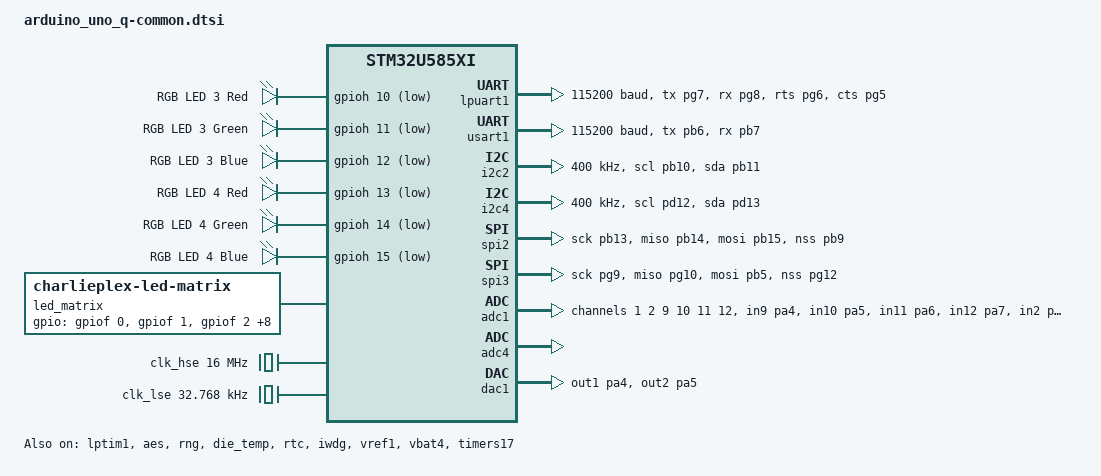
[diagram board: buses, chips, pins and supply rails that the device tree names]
/*
 * Copyright (c) 2021 Linaro Limited
 * Copyright (c) 2024 STMicroelectronics
 * Copyright (c) 2025 Arduino SA
 *
 * SPDX-License-Identifier: Apache-2.0
 */

#include <st/u5/stm32u585Xi.dtsi>
#include <st/u5/stm32u585aiixq-pinctrl.dtsi>
#include "arduino_r3_connector.dtsi"
#include <zephyr/dt-bindings/input/input-event-codes.h>

/ {
	leds {
		compatible = "gpio-leds";

		led3_red: led3_red {
			gpios = <&gpioh 10 GPIO_ACTIVE_LOW>;
			label = "RGB LED 3 Red";
		};

		led3_green: led3_green {
			gpios = <&gpioh 11 GPIO_ACTIVE_LOW>;
			label = "RGB LED 3 Green";
		};

		led3_blue: led3_blue {
			gpios = <&gpioh 12 GPIO_ACTIVE_LOW>;
			label = "RGB LED 3 Blue";
		};

		led4_red: led4_red {
			gpios = <&gpioh 13 GPIO_ACTIVE_LOW>;
			label = "RGB LED 4 Red";
		};

		led4_green: led4_green {
			gpios = <&gpioh 14 GPIO_ACTIVE_LOW>;
			label = "RGB LED 4 Green";
		};

		led4_blue: led4_blue {
			gpios = <&gpioh 15 GPIO_ACTIVE_LOW>;
			label = "RGB LED 4 Blue";
		};
	};

	aliases {
		watchdog0 = &iwdg;
		die-temp0 = &die_temp;
		volt-sensor0 = &vref1;
		volt-sensor1 = &vbat4;
	};
};

&clk_hsi48 {
	status = "okay";
};

&clk_hse {
	clock-frequency = <DT_FREQ_M(16)>;
	status = "okay";
};

&clk_lse {
	clock-frequency = <32768>;
	status = "okay";
};

&clk_msis {
	status = "okay";
	msi-range = <4>;
	msi-pll-mode;
};

&pll1 {
	div-m = <1>;
	mul-n = <80>;
	div-q = <2>;
	div-r = <2>;
	clocks = <&clk_msis>;
	status = "okay";
};

&rcc {
	clocks = <&pll1>;
	clock-frequency = <DT_FREQ_M(160)>;
	ahb-prescaler = <1>;
	apb1-prescaler = <1>;
	apb2-prescaler = <1>;
	apb3-prescaler = <1>;
};

stm32_lp_tick_source: &lptim1 {
	clocks = <&rcc STM32_CLOCK(APB3, 11)>,
		 <&rcc STM32_SRC_LSE LPTIM1_SEL(3)>;
	status = "okay";
};

&lpuart1 {
	pinctrl-0 = <&lpuart1_tx_pg7 &lpuart1_rx_pg8 &lpuart1_rts_pg6 &lpuart1_cts_pg5>;
	pinctrl-names = "default";
	current-speed = <115200>;
	status = "okay";
};

&usart1 {
	status = "okay";
	pinctrl-0 = <&usart1_tx_pb6 &usart1_rx_pb7>;
	pinctrl-names = "default";
	current-speed = <115200>;
};

&i2c2 {
	status = "okay";
	pinctrl-0 = <&i2c2_scl_pb10 &i2c2_sda_pb11>;
	pinctrl-names = "default";
	scl-gpios = <&gpiob 10 GPIO_ACTIVE_HIGH>;
	sda-gpios = <&gpiob 11 GPIO_ACTIVE_HIGH>;
	clock-frequency = <I2C_BITRATE_FAST>;
};

&i2c4 {
	status = "okay";
	pinctrl-0 = <&i2c4_scl_pd12 &i2c4_sda_pd13>;
	/* use      <&i2c4_scl_pf14 &i2c4_sda_pf15> for the JMISC connector */
	pinctrl-names = "default";
	scl-gpios = <&gpiod 12 GPIO_ACTIVE_HIGH>;
	sda-gpios = <&gpiod 13 GPIO_ACTIVE_HIGH>;
	clock-frequency = <I2C_BITRATE_FAST>;
};

&spi2 {
	status = "okay";
	pinctrl-0 = <&spi2_sck_pb13 &spi2_miso_pb14 &spi2_mosi_pb15 &spi2_nss_pb9>;
	/* use      <&spi2_sck_pd1 &spi2_miso_pc2 &spi2_mosi_pc3> for the ICSP connector */
	pinctrl-names = "default";
};

&spi3 {
	status = "okay";
	pinctrl-0 = <&spi3_sck_pg9 &spi3_miso_pg10 &spi3_mosi_pb5 &spi3_nss_pg12>;
	pinctrl-names = "default";
};

&aes {
	status = "okay";
};

&rng {
	status = "okay";
};

zephyr_udc0: &usbotg_fs {
	pinctrl-0 = <&usb_otg_fs_dm_pa11 &usb_otg_fs_dp_pa12>;
	pinctrl-names = "default";
	status = "disabled";
};

&adc1 {
	pinctrl-0 = <&adc1_in9_pa4
		     &adc1_in10_pa5
		     &adc1_in11_pa6
		     &adc1_in12_pa7
		     &adc1_in2_pc1
		     &adc1_in1_pc0>;
	pinctrl-names = "default";
	status = "okay";

	#address-cells = <1>;
	#size-cells = <0>;

	channel@1 {
		reg = <1>;
		zephyr,gain = "ADC_GAIN_1";
		zephyr,reference = "ADC_REF_INTERNAL";
		zephyr,acquisition-time = <ADC_ACQ_TIME_MAX>;
		zephyr,resolution = <14>;
	};

	channel@2 {
		reg = <2>;
		zephyr,gain = "ADC_GAIN_1";
		zephyr,reference = "ADC_REF_INTERNAL";
		zephyr,acquisition-time = <ADC_ACQ_TIME_MAX>;
		zephyr,resolution = <14>;
	};

	channel@9 {
		reg = <9>;
		zephyr,gain = "ADC_GAIN_1";
		zephyr,reference = "ADC_REF_INTERNAL";
		zephyr,acquisition-time = <ADC_ACQ_TIME_MAX>;
		zephyr,resolution = <14>;
	};

	channel@a {
		reg = <10>;
		zephyr,gain = "ADC_GAIN_1";
		zephyr,reference = "ADC_REF_INTERNAL";
		zephyr,acquisition-time = <ADC_ACQ_TIME_MAX>;
		zephyr,resolution = <14>;
	};

	channel@b {
		reg = <11>;
		zephyr,gain = "ADC_GAIN_1";
		zephyr,reference = "ADC_REF_INTERNAL";
		zephyr,acquisition-time = <ADC_ACQ_TIME_MAX>;
		zephyr,resolution = <14>;
	};

	channel@c {
		reg = <12>;
		zephyr,gain = "ADC_GAIN_1";
		zephyr,reference = "ADC_REF_INTERNAL";
		zephyr,acquisition-time = <ADC_ACQ_TIME_MAX>;
		zephyr,resolution = <14>;
	};
};

&adc4 {
	/* needed by vbat */
	st,adc-clock-source = "ASYNC";
	st,adc-prescaler = <4>;
	status = "okay";
};

&die_temp {
	status = "okay";
};

&dac1 {
	pinctrl-0 = <&dac1_out1_pa4 &dac1_out2_pa5>;
	pinctrl-names = "default";
	status = "okay";
};

&rtc {
	clocks = <&rcc STM32_CLOCK(APB3, 21)>,
		 <&rcc STM32_SRC_LSE RTC_SEL(1)>;
	status = "okay";
};

&iwdg {
	status = "okay";
};

&vref1 {
	status = "okay";
};

&vbat4 {
	status = "okay";
};

&gpiog {
	status = "okay";
};

/*
 * On-board 13x8 charlieplexed LED matrix (104 LEDs) driven across STM32
 * port F lines PF0..PF10 and scanned by TIM17. See the
 * charlieplex-led-matrix binding; the pixel-pairs table maps each
 * framebuffer pixel to its {high,low} GPIO pin-pair.
 */

/ {
	chosen {
		zephyr,display = &led_matrix;
	};

	led_matrix: charlieplex-led-matrix {
		compatible = "charlieplex-led-matrix";
		gpios = <&gpiof 0 0>, <&gpiof 1 0>, <&gpiof 2 0>,
			<&gpiof 3 0>, <&gpiof 4 0>, <&gpiof 5 0>,
			<&gpiof 6 0>, <&gpiof 7 0>, <&gpiof 8 0>,
			<&gpiof 9 0>, <&gpiof 10 0>;
		counter = <&counter_matrix>;
		refresh-frequency = <100>;
		width = <13>;
		height = <8>;
		grayscale-bits = <3>;
		pixel-pairs = <0x0001 0x0100 0x0002 0x0200 0x0102 0x0201 0x0003 0x0300 0x0103 0x0301
			       0x0203 0x0302 0x0004 0x0400 0x0104 0x0401 0x0204 0x0402 0x0304 0x0403
			       0x0005 0x0500 0x0105 0x0501 0x0205 0x0502 0x0305 0x0503 0x0405 0x0504
			       0x0006 0x0600 0x0106 0x0601 0x0206 0x0602 0x0306 0x0603 0x0406 0x0604
			       0x0506 0x0605 0x0007 0x0700 0x0107 0x0701 0x0207 0x0702 0x0307 0x0703
			       0x0407 0x0704 0x0507 0x0705 0x0607 0x0706 0x0008 0x0800 0x0108 0x0801
			       0x0208 0x0802 0x0308 0x0803 0x0408 0x0804 0x0508 0x0805 0x0608 0x0806
			       0x0708 0x0807 0x0009 0x0900 0x0109 0x0901 0x0209 0x0902 0x0309 0x0903
			       0x0409 0x0904 0x0509 0x0905 0x0609 0x0906 0x0709 0x0907 0x0809 0x0908
			       0x000a 0x0a00 0x010a 0x0a01 0x020a 0x0a02 0x030a 0x0a03 0x040a 0x0a04
			       0x050a 0x0a05 0x060a 0x0a06>;
	};
};

&gpiof {
	status = "okay";
};

&timers17 {
	status = "okay";
	st,prescaler = <4>;

	counter_matrix: counter {
		status = "okay";
	};
};
